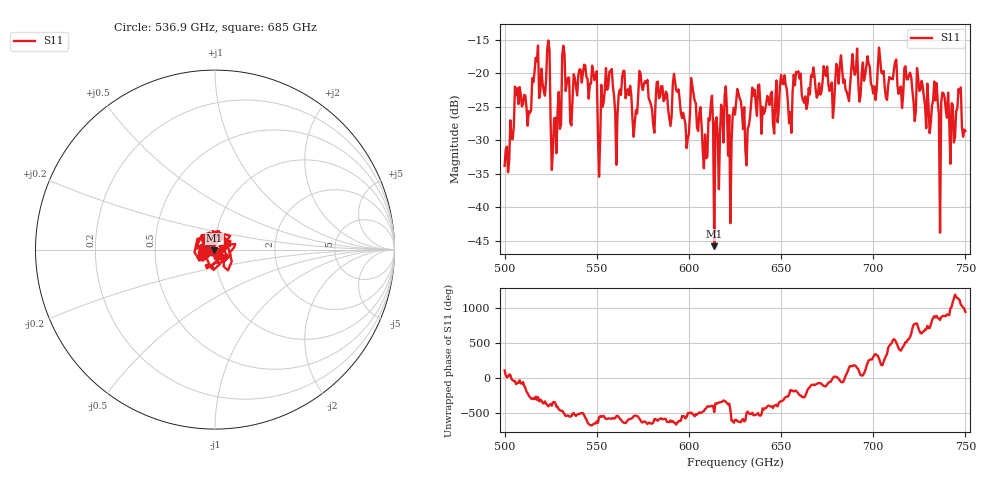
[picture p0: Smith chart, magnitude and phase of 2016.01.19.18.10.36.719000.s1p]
!Created with skrf (http://scikit-rf.org).
# GHz S RI R 50.0
!freq ReS11 ImS11
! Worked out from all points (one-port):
!   401 points, 500 GHz to 750 GHz, reference 50 ohm
!   lowest |S11| = -45.8 dB at 613.8 GHz (marker M1), VSWR 1.01, Z = 49.7 - j0.391 ohm
!   |S11| at or under -10 dB: start of sweep to end of sweep
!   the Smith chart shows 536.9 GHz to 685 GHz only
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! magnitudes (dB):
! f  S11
! 500 GHz  -33.8
! 506.9 GHz  -22.3
! 513.1 GHz  -25.7
! 516.9 GHz  -17.7
! 523.1 GHz  -16.5
! 526.9 GHz  -26.7
! 531.2 GHz  -17.4
! 548.8 GHz  -21.0
! 551.9 GHz  -29.6
! 556.2 GHz  -22.0
! 562.5 GHz  -22.5
! 593.8 GHz  -22.8
! 598.8 GHz  -31.2
! 602.5 GHz  -23.1
! 608.8 GHz  -29.1
! 611.9 GHz  -24.7
! 613.8 GHz  -45.8
! 615 GHz  -26.6
! 618.8 GHz  -30.4
! 622.5 GHz  -42.4
! 625 GHz  -26.2
! 631.9 GHz  -28.3
! 635 GHz  -23.4
! 656.2 GHz  -22.7
! 687.5 GHz  -21.6
! 718.8 GHz  -20.9
! 746.2 GHz  -22.4
! 750 GHz  -28.6
